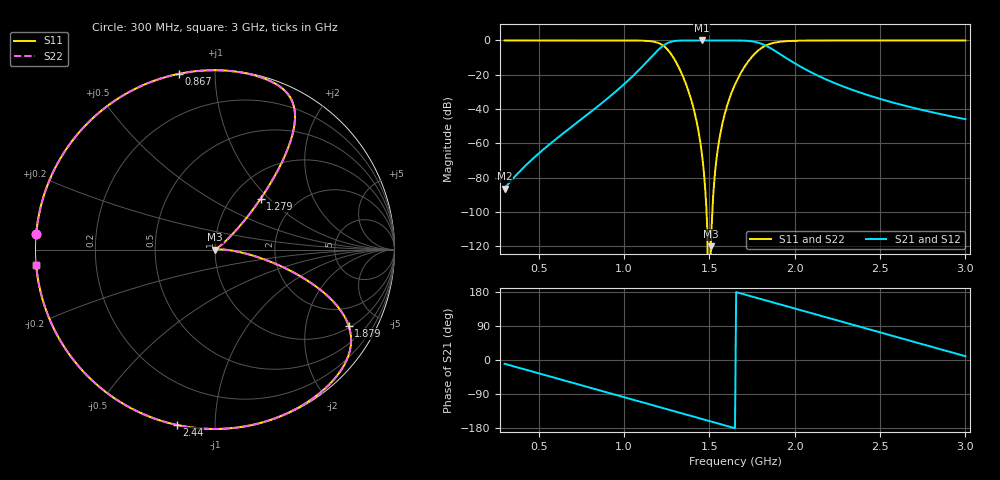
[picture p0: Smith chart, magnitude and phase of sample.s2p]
! Sample S2P file — 4th-order Butterworth bandpass, centre 1.5 GHz
! Generated by TINA screenshot script for demonstration purposes
# MHz S MA R 50
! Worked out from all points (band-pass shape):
!   401 points, 300 MHz to 3 GHz, reference 50 ohm
!   highest |S21| = 0.00 dB at 1.454 GHz (marker M1); lowest = -86.4 dB at 300 MHz (marker M2)
!   |S21| within 3 dB of the highest: 1.23 GHz to 1.829 GHz (599.5 MHz wide, 39.2 % of centre)
!   lowest |S11| = -120.0 dB at 1.508 GHz (marker M3), VSWR 1.00, Z = 50 + j3.15e-05 ohm
!   |S11| at or under -10 dB: 1.289 GHz to 1.745 GHz (456 MHz wide, 30.1 % of centre)
!   |S22| runs from - to 0.0 dB; largest |S21 - S12| = 0
!   S11 on the Smith chart (normalised r, x): 300 MHz: -0.00, +0.04; 867 MHz: 0.00, +0.82; 1.279 GHz: 1.34, +0.89; 1.879 GHz: 1.07, -3.46; 2.44 GHz: 0.00, -0.80; 3 GHz: 0.00, -0.04
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300  1 175.0  4.8e-05 -10.0  4.8e-05 -10.0  1 175.0
360.75  1 167.1  0.000109 -17.6  0.000109 -17.6  1 167.1
752.25  1 116.4  0.005159 -67.0  0.005159 -67.0  1 116.4
867  0.9999 101.5  0.01453 -81.4  0.01453 -81.4  0.9999 101.5
1083  0.9913 73.5  0.1313 -108.6  0.1313 -108.6  0.9913 73.5
1204.5  0.8313 57.8  0.5559 -123.9  0.5559 -123.9  0.8313 57.8
1278.75  0.3811 48.1  0.9245 -133.2  0.9245 -133.2  0.3811 48.1
1386.75  0.02383 34.1  0.9997 -146.8  0.9997 -146.8  0.02383 34.1
1427.25  0.003824 28.9  1 -151.9  1 -151.9  0.003824 28.9
1454.25  0.000576 25.4  1 -155.3  1 -155.3  0.000576 25.4
1481.25  1.6e-05 21.9  1 -158.8  1 -158.8  1.6e-05 21.9
1508.25  1e-06 18.4  1 -162.2  1 -162.2  1e-06 18.4
1528.5  7.8e-05 15.8  1 -164.7  1 -164.7  7.8e-05 15.8
1562.25  0.00171 11.4  1 -168.9  1 -168.9  0.00171 11.4
1589.25  0.00699 7.9  1 -172.3  1 -172.3  0.00699 7.9
1650  0.05182 0.0  0.9987 -180.0  0.9987 -180.0  0.05182 0.0
1758  0.374 -14.0  0.9274 166.4  0.9274 166.4  0.374 -14.0
1879.5  0.8583 -29.8  0.5131 151.1  0.5131 151.1  0.8583 -29.8
2102.25  0.9935 -58.6  0.1135 123.0  0.1135 123.0  0.9935 -58.6
2439.75  0.9997 -102.4  0.02443 80.5  0.02443 80.5  0.9997 -102.4
2554.5  0.9999 -117.2  0.01651 66.1  0.01651 66.1  0.9999 -117.2
3000  1 -175.0  0.005057 10.0  0.005057 10.0  1 -175.0
